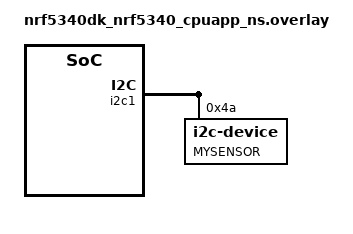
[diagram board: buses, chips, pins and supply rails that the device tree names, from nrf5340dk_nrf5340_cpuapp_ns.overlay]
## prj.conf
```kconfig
#
# Copyright (c) 2016 Intel Corporation
#
# SPDX-License-Identifier: Apache-2.0
#

# STEP 2 - Enable the I2C driver
CONFIG_I2C=y

# STEP 4.2 - Enable floating point format specifiers

CONFIG_CBPRINTF_FP_SUPPORT=y
```

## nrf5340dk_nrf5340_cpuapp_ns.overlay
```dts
// To get started, press Ctrl+Space to bring up the completion menu and view the available nodes.

// You can also use the buttons in the sidebar to perform actions on nodes.
// Actions currently available include:

// * Enabling / disabling the node
// * Adding the bus to a bus
// * Removing the node
// * Connecting ADC channels

// For more help, browse the DeviceTree documentation at https://docs.zephyrproject.org/latest/guides/dts/index.html
// You can also visit the nRF DeviceTree extension documentation at https://nrfconnect.github.io/vscode-nrf-connect/devicetree/nrfdevicetree.html
/* 
&i2c1 {
    mysensor: mysensor@4a{
        compatible = "i2c-device";
        status = "okay";
        reg = < 0x4a >;
    };
};
*/

&i2c1 {
    status = "okay";
    mysensor: mysensor@4a{
        compatible = "i2c-device";
        reg = < 0x4a >;
        label = "MYSENSOR";
    };
};
```

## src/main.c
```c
/*
 * Copyright (c) 2016 Intel Corporation
 *
 * SPDX-License-Identifier: Apache-2.0
 */

#include <zephyr/kernel.h>
#include <zephyr/device.h>
#include <zephyr/devicetree.h>
/* STEP 3 - Include the header file of the I2C API */
#include <zephyr/drivers/i2c.h>

/* STEP 4.1 - Include the header file of printk() */
#include <zephyr/sys/printk.h>

/* 1000 msec = 1 sec */
#define SLEEP_TIME_MS   1000

/* STEP 8 - Define the I2C slave device address and the addresses of relevant registers */
#define STTS751_TEMP_HIGH_REG            0x00
#define STTS751_TEMP_LOW_REG             0x02
#define STTS751_CONFIG_REG               0x03


/* STEP 6 - Get the node identifier of the sensor */
#define I2C1_NODE DT_NODELABEL(mysensor)

int main(void)
{

	int ret;

/* STEP 7 - Retrieve the API-specific device structure and make sure that the device is ready to use  */
static const struct i2c_dt_spec dev_i2c = I2C_DT_SPEC_GET(I2C1_NODE);
if (!device_is_ready(dev_i2c.bus)) {
	printk("I2C bus %s is not ready!\n\r",dev_i2c.bus->name);
	return -1;
}


/* STEP 9 - Setup the sensor by writing the value 0x8C to the Configuration register */
uint8_t config[2] = {STTS751_CONFIG_REG,0x8C};
	ret = i2c_write_dt(&dev_i2c, config, sizeof(config));
	if(ret != 0){
		printk("Failed to write to I2C device address %x at Reg. %x \n", dev_i2c.addr,config[0]);
		return -1;
	}


	while (1) {
/* STEP 10 - Read the temperature from the sensor */
uint8_t temp_reading[2]= {0};
uint8_t sensor_regs[2] ={STTS751_TEMP_LOW_REG,STTS751_TEMP_HIGH_REG};
ret = i2c_write_read_dt(&dev_i2c,&sensor_regs[0],1,&temp_reading[0],1);
if(ret != 0){
	printk("Failed to write/read I2C device address %x at Reg. %x \r\n", dev_i2c.addr,sensor_regs[0]);
}
ret = i2c_write_read_dt(&dev_i2c,&sensor_regs[1],1,&temp_reading[1],1);
if(ret != 0){
	printk("Failed to write/read I2C device address %x at Reg. %x \r\n", dev_i2c.addr,sensor_regs[1]);
}


/* STEP 11 - Convert the two bytes to a 12-bits */
int temp = ((int)temp_reading[1] * 256 + ((int)temp_reading[0] & 0xF0)) / 16;
if(temp > 2047)
{
	temp -= 4096;
}
// Convert to engineering units 
double cTemp = temp * 0.0625;
double fTemp = cTemp * 1.8 + 32;
//Print reading to console  
printk("Temperature in Celsius : %.2f C \n", cTemp);
printk("Temperature in Fahrenheit : %.2f F \n", fTemp);

		k_msleep(SLEEP_TIME_MS);
	}
}
```
